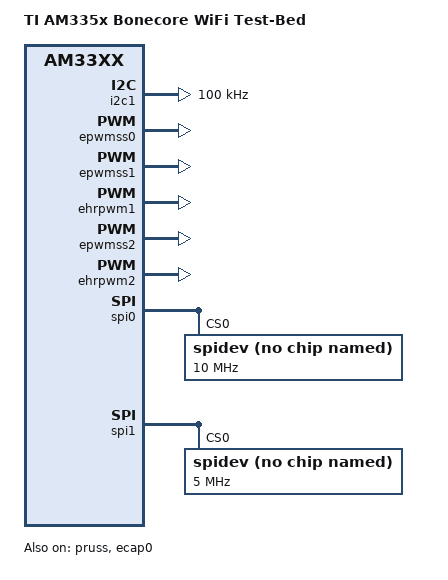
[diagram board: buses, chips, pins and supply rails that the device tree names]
/*
 * Copyright (C) Subinitial LLC
 *
 * This program is free software; you can redistribute it and/or modify
 * it under the terms of the GNU General Public License version 2 as
 * published by the Free Software Foundation.
 */
/dts-v1/;

#include "am33xx.dtsi"
#include "am335x-bone-common.dtsi"
#include "am335x-bonegreen-common.dtsi"
// #include "am335x-pruss-rproc.dtsi"
/* #include "am335x-bone-jtag.dtsi" */

#include "am335x-bonecore-common.dtsi"


&am33xx_pinmux {
  bb_gpio_pins: pinmux_bb_gpio_pins {
    pinctrl-single,pins = <
      BONE_P8_10 (PIN_OUTPUT_PULLUP | MUX_MODE7)
      BONE_P8_11 (PIN_OUTPUT_PULLUP | MUX_MODE7)
      BONE_P8_12 (PIN_OUTPUT_PULLDOWN | MUX_MODE7)

      BONE_P8_14 (PIN_INPUT_PULLDOWN | MUX_MODE7)  // CONTINUITY_DETECTED
      BONE_P8_15 (PIN_INPUT_PULLUP | MUX_MODE7)
      BONE_P8_16 (PIN_OUTPUT_PULLDOWN | MUX_MODE7)
      BONE_P8_17 (PIN_OUTPUT_PULLDOWN | MUX_MODE7)  // LXI_RED
      BONE_P8_18 (PIN_OUTPUT_PULLDOWN | MUX_MODE7)  // LXI_GREEN
      
      BONE_P8_27 (PIN_OUTPUT_PULLDOWN | MUX_MODE7)  // CMD_PROP_FORE_PWR
      BONE_P8_28 (PIN_OUTPUT_PULLDOWN | MUX_MODE7)
    >;
  };

  bb_spi0_pins: pinmux_bb_spi0_pins {
    pinctrl-single,pins = <
      BONE_P9_17 (PIN_OUTPUT_PULLUP | MUX_MODE0)  // spi0_cs0
      BONE_P9_21 (PIN_INPUT_PULLUP  | MUX_MODE0)  // spi0_d0 MISO
      BONE_P9_18 (PIN_OUTPUT_PULLDOWN  | MUX_MODE0)  // spi0_d1 MOSI
      BONE_P9_22 (PIN_OUTPUT_PULLUP  | MUX_MODE0)  // spi0_sclk
    >;
  };

  bb_spi1_pins: pinmux_bb_spi1_pins {
    pinctrl-single,pins = <
      BONE_P9_28 (PIN_OUTPUT_PULLUP | MUX_MODE3)  // spi1_cs0
      BONE_P9_29 (PIN_INPUT_PULLUP  | MUX_MODE3)  // spi1_d0 MISO
      BONE_P9_30 (PIN_OUTPUT_PULLDOWN  | MUX_MODE3)  // spi1_d1 MOSI
      BONE_P9_31 (PIN_OUTPUT_PULLUP  | MUX_MODE3)  // spi1_sclk
    >;
  };

  i2c1_pins: pinmux_i2c1_pins {
    pinctrl-single,pins = <
      BONE_P9_24 (PIN_INPUT_PULLDOWN | MUX_MODE3)
      BONE_P9_26 (PIN_INPUT_PULLDOWN | MUX_MODE3)
    >;
  };

  bb_pwm1_pins: pinmux_bb_pwm1_pins {
    pinctrl-single,pins = <
      BONE_P9_16 (PIN_OUTPUT | MUX_MODE6)	/* ADC_CLK_IN_ISO */
    >;
  };

  bb_pwm2_pins: pinmux_bb_pwm2_pins {
    pinctrl-single,pins = <
      BONE_P8_13 (PIN_OUTPUT | MUX_MODE4)	/* FAN_PWM */
    >;
  };

  bb_ecap0_pins: pinmux_bb_ecap0_pins {
    pinctrl-single,pins = <
      BONE_P8_07 (PIN_INPUT_PULLDOWN | MUX_MODE2)	/* FAN_TACH (Timer4) */

      BONE_P9_42A (PIN_INPUT_PULLDOWN | MUX_MODE0)	/* FAN_TACH' */
      BONE_P9_42B (PIN_INPUT | MUX_MODE7)	/* spare-tied */

      /* GPIOS */

    >;
  };
};

&capeuniversal {
  P8_10 { gpio = <&gpio2  4 0>; output; init-low; dir-changeable; };
  P8_11 { gpio = <&gpio1 13 0>; output; init-high; dir-changeable; };
  P8_12 { gpio = <&gpio1 12 0>; output; init-low; dir-changeable; };

  P8_14 { gpio = <&gpio0 26 0>; input; dir-changeable; };  // EEPROM_WR
  P8_15 { gpio = <&gpio1 15 0>; input; dir-changeable; };  // ~INT_IO_ISO
  P8_16 { gpio = <&gpio1 14 0>; output; init-low; dir-changeable; };  // EN_ISO_PWR
  P8_17 { gpio = <&gpio0 27 0>; output; init-low; dir-changeable; };  // LXI_RED
  P8_18 { gpio = <&gpio2  1 0>; output; init-low; dir-changeable; };  // LXI_GREEN

  P8_27 { gpio = <&gpio2 22 0>; input; dir-changeable; };  // ~NETWORK_RESET
  P8_28 { gpio = <&gpio2 24 0>; input; dir-changeable; };  // SPI1_MISO_ISO (~DRDY)


  P8_28 { gpio = <&gpio2 24 0>; input; dir-changeable; };  // SPI1_MISO_ISO (~DRDY)

};

&i2c1 {
	status = "okay";
	pinctrl-names = "default";
	pinctrl-0 = <&i2c1_pins>;
	clock-frequency = <0x186a0>;
};

&pruss {
  status = "okay";
};

&epwmss0 { 
  status = "okay";
};

&ecap0 {
  status = "okay";
  pinctrl-names = "default";
  pinctrl-0 = <&bb_ecap0_pins>;
};

&epwmss1 {
  status = "okay";
};

&ehrpwm1 {
  status = "okay";
  pinctrl-names = "default";
  pinctrl-0 = <&bb_pwm1_pins>;
};

&epwmss2 {
  status = "okay";
};

&ehrpwm2 {
  status = "okay";
  pinctrl-names = "default";
  pinctrl-0 = <&bb_pwm2_pins>;
};

&spi0 {  // DAC S00803
  status = "okay";
  pinctrl-names = "default";
  pinctrl-0 = <&bb_spi0_pins>;

  spidev@0 {
    compatible = "linux,spidev";
    spi-max-frequency = <10000000>;
    reg = <0>;
    // spi-cpha;
  };
};

&spi1 {  // ADC S00701
  status = "okay";
  pinctrl-names = "default";
  pinctrl-0 = <&bb_spi1_pins>;

  spidev@0 {
    compatible = "linux,spidev";
    spi-max-frequency = <5000000>;
    reg = <0>;
    // spi-cpha;
  };
};

/ {
	model = "TI AM335x Bonecore WiFi Test-Bed";
	compatible = "ti,am335x-bone-green", "ti,am335x-bone-black", "ti,am335x-bone", "ti,am33xx";
};
